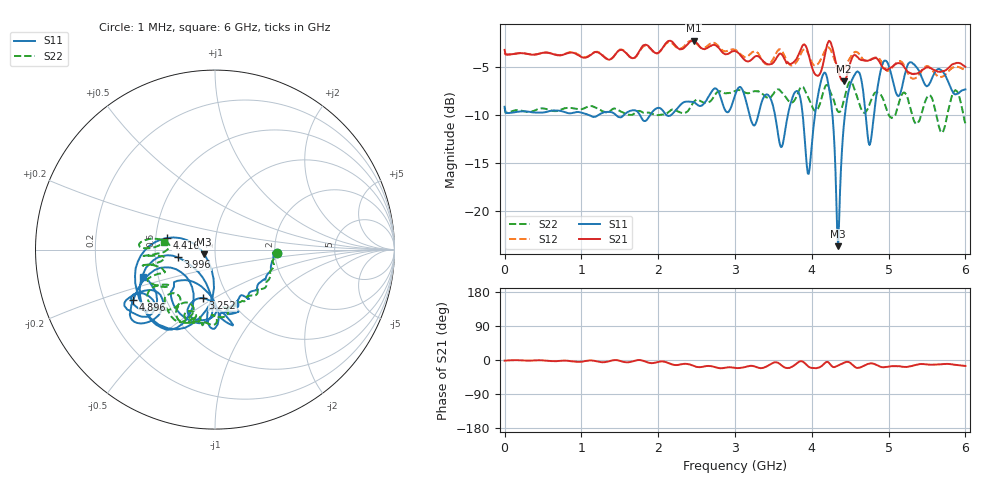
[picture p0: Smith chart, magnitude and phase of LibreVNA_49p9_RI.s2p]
# GHZ RI RI R 50.000000000000
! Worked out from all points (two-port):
!   501 points, 1 MHz to 6 GHz, reference 50 ohm
!   highest |S21| = -2.29 dB at 2.461 GHz (marker M1); lowest = -6.5 dB at 4.416 GHz (marker M2)
!   |S21| within 3 dB of the highest: start of sweep to 4.013 GHz; 4.479 GHz to 4.96 GHz (480.8 MHz wide, 10.2 % of centre)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
!   lowest |S11| = -23.7 dB at 4.344 GHz (marker M3), VSWR 1.14, Z = 44.2 - j2.23 ohm
!   |S11| at or under -10 dB: 3.521 GHz to 3.689 GHz (168.6 MHz wide, 4.68 % of centre); 3.882 GHz to 4.042 GHz (160.3 MHz wide, 4.05 % of centre); 4.269 GHz to 4.432 GHz (163.1 MHz wide, 3.75 % of centre)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
!   |S22| runs from -11.9 to -6.5 dB; largest |S21 - S12| = 0.14
!   S11 on the Smith chart (normalised r, x): 1 MHz: 2.06, -0.08; 3.252 GHz: 0.76, -0.45; 3.996 GHz: 0.66, -0.06; 4.416 GHz: 0.57, +0.08; 4.896 GHz: 0.32, -0.26; 6 GHz: 0.41, -0.16
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0.001  0.3478 -0.0163  0.6883 -0.0201  0.6666 -0.0156  0.344 -0.0164
1.008832  0.2775 -0.1672  0.6287 -0.0486  0.6346 -0.0338  0.2828 -0.1866
2.004666  0.127 -0.3197  0.6633 -0.0569  0.6661 -0.0187  0.1114 -0.2948
2.46059  0.1275 -0.3458  0.7407 -0.2043  0.7491 -0.1614  0.0701 -0.361
3.0005  -0.0417 -0.3968  0.6355 -0.2403  0.6509 -0.2267  -0.0729 -0.4143
3.252458  -0.0656 -0.2702  0.6054 -0.1826  0.6541 -0.1775  -0.1296 -0.399
3.432428  -0.0748 -0.3943  0.5594 -0.1478  0.5636 -0.1387  -0.0893 -0.3769
3.612398  -0.1194 -0.1801  0.6276 -0.17  0.6544 -0.1828  -0.1681 -0.3767
3.828362  -0.0636 -0.4082  0.6474 -0.0618  0.6184 -0.0433  -0.1246 -0.398
3.948342  -0.0904 -0.1275  0.6501 -0.1845  0.6337 -0.2034  -0.211 -0.3313
3.996334  -0.2069 -0.0431  0.5319 -0.2026  0.5648 -0.1974  -0.188 -0.3018
4.008332  -0.2363 -0.0336  0.5134 -0.1977  0.5553 -0.185  -0.1778 -0.2975
4.188302  -0.2616 -0.4387  0.6957 -0.0658  0.6999 -0.0114  -0.2056 -0.4024
4.272288  -0.0293 -0.3047  0.6645 -0.2154  0.6338 -0.1513  -0.28 -0.2713
4.344276  -0.0605 -0.0251  0.5132 -0.1295  0.5282 -0.1178  -0.2143 -0.2478
4.416264  -0.2679 0.0647  0.4681 -0.0625  0.5451 -0.0566  -0.2077 -0.3113
4.512248  -0.4455 -0.144  0.5979 -0.0992  0.6345 -0.0751  -0.371 -0.2884
4.62023  -0.2717 -0.4461  0.5775 -0.2146  0.6333 -0.1582  -0.3013 -0.1963
4.752208  -0.1623 -0.1488  0.6009 -0.0992  0.6079 -0.0557  -0.2931 -0.2071
4.896184  -0.4556 -0.2802  0.5537 -0.1796  0.59 -0.1441  -0.3699 -0.1594
5.004166  -0.392 -0.4094  0.5237 -0.1642  0.5211 -0.1349  -0.2866 -0.1292
6  -0.3998 -0.1544  0.5415 -0.1514  0.5265 -0.1107  -0.2818 0.0406
